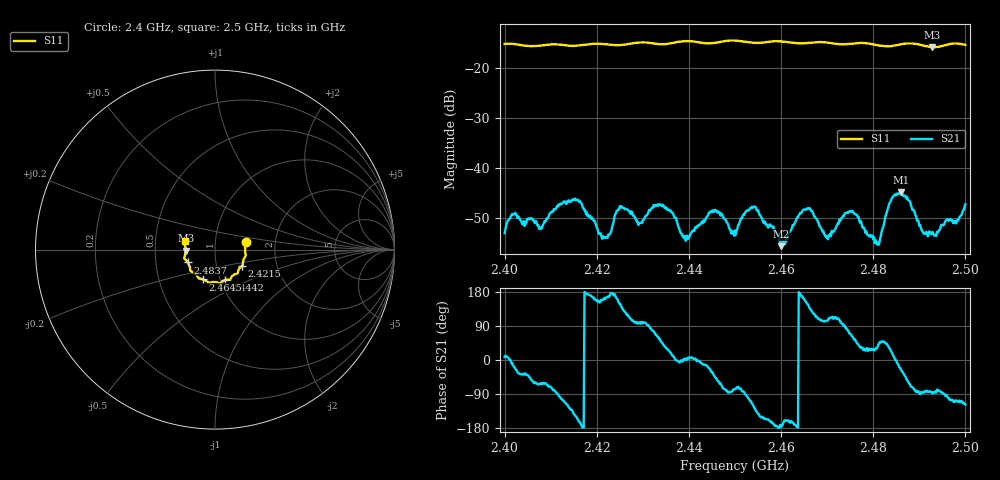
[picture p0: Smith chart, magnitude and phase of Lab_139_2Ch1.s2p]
# Hz S RI R 50
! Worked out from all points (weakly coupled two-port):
!   601 points, 2.4 GHz to 2.5 GHz, reference 50 ohm
!   highest |S21| = -44.95 dB at 2.486 GHz (marker M1); lowest = -55.8 dB at 2.46 GHz (marker M2)
!   lowest |S11| = -15.7 dB at 2.4928 GHz (marker M3), VSWR 1.39, Z = 36 - j0.38 ohm
!   |S11| at or under -10 dB: start of sweep to end of sweep
!   S12 and S22 are empty: the file has one direction only
!   S11 on the Smith chart (normalised r, x): 2.4 GHz: 1.41, +0.12; 2.4215 GHz: 1.33, -0.25; 2.4442 GHz: 1.05, -0.37; 2.4645 GHz: 0.83, -0.29; 2.4837 GHz: 0.73, -0.11; 2.5 GHz: 0.71, +0.07
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2.4e9  0.1714 0.04  0.00218 0.000303  0 0  0 0
2.401833e9  0.1734 0.0333  0.00329 -0.000756  0 0  0 0
2.416667e9  0.1568 -0.0698  -0.00437 -0.000575  0 0  0 0
2.4215e9  0.1511 -0.0897  -0.00185 0.000697  0 0  0 0
2.425e9  0.1342 -0.1073  -0.00345 0.00225  0 0  0 0
2.429333e9  0.1272 -0.1309  -0.000457 0.00273  0 0  0 0
2.433333e9  0.1082 -0.1384  0.00205 0.00358  0 0  0 0
2.439333e9  0.0843 -0.1682  0.00184 0.000113  0 0  0 0
2.444167e9  0.0564 -0.1694  0.00316 -0.00109  0 0  0 0
2.45e9  0.0251 -0.189  0.000516 -0.00229  0 0  0 0
2.454e9  0.0016 -0.1806  -0.00207 -0.00345  0 0  0 0
2.46e9  -0.0356 -0.1838  -0.00163 -8.97e-05  0 0  0 0
2.4645e9  -0.0659 -0.1661  -0.00347 0.000868  0 0  0 0
2.466667e9  -0.0828 -0.1621  -0.00229 0.00291  0 0  0 0
2.47e9  -0.0937 -0.1561  -0.000467 0.0019  0 0  0 0
2.475333e9  -0.1253 -0.125  0.00161 0.00322  0 0  0 0
2.480833e9  -0.1388 -0.1004  0.00143 0.000914  0 0  0 0
2.483333e9  -0.1489 -0.0751  0.00336 0.00239  0 0  0 0
2.483667e9  -0.151 -0.0718  0.00398 0.00214  0 0  0 0
2.486e9  -0.1664 -0.0546  0.00512 -0.00239  0 0  0 0
2.492833e9  -0.1634 -0.00515  7.5e-05 -0.00227  0 0  0 0
2.5e9  -0.1652 0.0505  -0.00201 -0.0038  0 0  0 0
